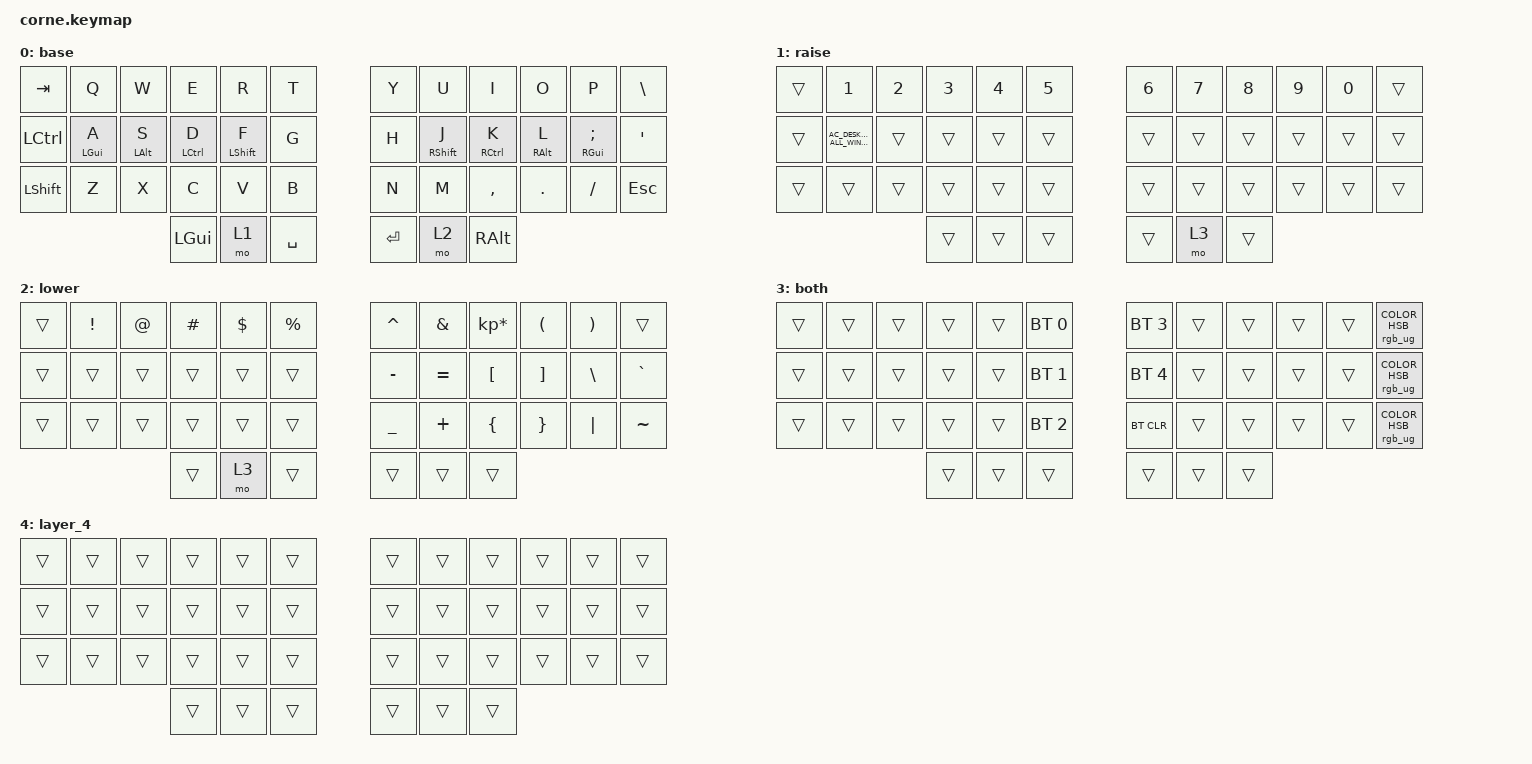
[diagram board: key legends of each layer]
/*
 * Copyright (c) 2020 The ZMK Contributors
 *
 * SPDX-License-Identifier: MIT
 */

#include <behaviors.dtsi>
#include <dt-bindings/zmk/bt.h>
#include <dt-bindings/zmk/keys.h>
#include <dt-bindings/zmk/rgb.h>

// dt-formatter: indent = "  "
// dt-formatter: reindentMultilineIntegerCells = "dedent"

/ {
  behaviors {
    hm: homerow_mods {
      compatible = "zmk,behavior-hold-tap";
      label = "HOMEROW_MODS";
      #binding-cells = <2>;
      tapping-term-ms = <150>;
      quick-tap-ms = <0>;
      flavor = "tap-preferred";
      bindings =
        <&kp>,
        <&kp>;
    };
  };

  combos {
    compatible = "zmk,combos";

    tab {
      bindings = <&trans>;
      key-positions = <2 3>;
    };

    ctrl {
      bindings = <&kp LCTRL>;
      key-positions = <26 27>;
    };

    cmd {
      bindings = <&kp LCMD>;
      key-positions = <37 38>;
    };

    alt {
      bindings = <&kp LEFT_ALT>;
      key-positions = <39 40>;
    };

    shift {
      bindings = <&kp LSHIFT>;
      key-positions = <8 9>;
    };

    caps_word {
      bindings = <&caps_word>;
      key-positions = <17 18>;
    };

    delete {
      bindings = <&kp DEL>;
      key-positions = <32 33>;
    };
  };

  macros {
    zed_em_kay: zed_em_kay {
      compatible = "zmk,behavior-macro";
      label = "ZM_zed_em_kay";
      #binding-cells = <0>;
      bindings =
        <&macro_press>,
        <&kp LSHFT>,
        <&macro_tap>,
        <&kp Z &kp M &kp K>,
        <&macro_release>,
        <&kp LSHFT>;
    };
  };

  keymap {
    compatible = "zmk,keymap";

    base {
      bindings = <
  &kp TAB       &kp Q       &kp W        &kp E         &kp R      &kp T      &kp Y         &kp U        &kp I       &kp O          &kp P  &kp BSLH
&kp LCTRL  &hm LGUI A  &hm LALT S  &hm LCTRL D  &hm LSHIFT F      &kp G      &kp H  &hm RSHIFT J  &hm RCTRL K  &hm RALT L  &hm RGUI SEMI  &kp APOS
&kp LSHFT       &kp Z       &kp X        &kp C         &kp V      &kp B      &kp N         &kp M    &kp COMMA     &kp DOT       &kp FSLH   &kp ESC
                                      &kp LGUI         &mo 1  &kp SPACE    &kp RET         &mo 2     &kp RALT
      >;
    };

    raise {
      bindings = <
&trans                             &kp N1  &kp N2  &kp N3  &kp N4  &kp N5    &kp N6  &kp N7  &kp N8  &kp N9  &kp N0  &trans
&trans  &kp C_AC_DESKTOP_SHOW_ALL_WINDOWS  &trans  &trans  &trans  &trans    &trans  &trans  &trans  &trans  &trans  &trans
&trans                             &trans  &trans  &trans  &trans  &trans    &trans  &trans  &trans  &trans  &trans  &trans
                                                   &trans  &trans  &trans    &trans   &mo 3  &trans
      >;
    };

    lower {
      bindings = <
&trans  &kp EXCL  &kp AT  &kp HASH  &kp DLLR  &kp PRCNT    &kp CARET   &kp AMPS  &kp KP_MULTIPLY  &kp LPAR  &kp RPAR     &trans
&trans    &trans  &trans    &trans    &trans     &trans    &kp MINUS  &kp EQUAL         &kp LBKT  &kp RBKT  &kp BSLH  &kp GRAVE
&trans    &trans  &trans    &trans    &trans     &trans    &kp UNDER   &kp PLUS         &kp LBRC  &kp RBRC  &kp PIPE  &kp TILDE
                            &trans     &mo 3     &trans       &trans     &trans           &trans
      >;
    };

    both {
      bindings = <
&trans  &trans  &trans  &trans  &trans  &bt BT_SEL 0    &bt BT_SEL 3  &trans  &trans  &trans  &trans    &rgb_ug RGB_COLOR_HSB(0,60,50)
&trans  &trans  &trans  &trans  &trans  &bt BT_SEL 1    &bt BT_SEL 4  &trans  &trans  &trans  &trans  &rgb_ug RGB_COLOR_HSB(120,60,50)
&trans  &trans  &trans  &trans  &trans  &bt BT_SEL 2      &bt BT_CLR  &trans  &trans  &trans  &trans  &rgb_ug RGB_COLOR_HSB(240,60,50)
                        &trans  &trans        &trans          &trans  &trans  &trans
      >;
    };

    layer_4 {
      bindings = <
&trans  &trans  &trans  &trans  &trans  &trans    &trans  &trans  &trans  &trans  &trans  &trans
&trans  &trans  &trans  &trans  &trans  &trans    &trans  &trans  &trans  &trans  &trans  &trans
&trans  &trans  &trans  &trans  &trans  &trans    &trans  &trans  &trans  &trans  &trans  &trans
                        &trans  &trans  &trans    &trans  &trans  &trans
      >;
    };
  };
};
